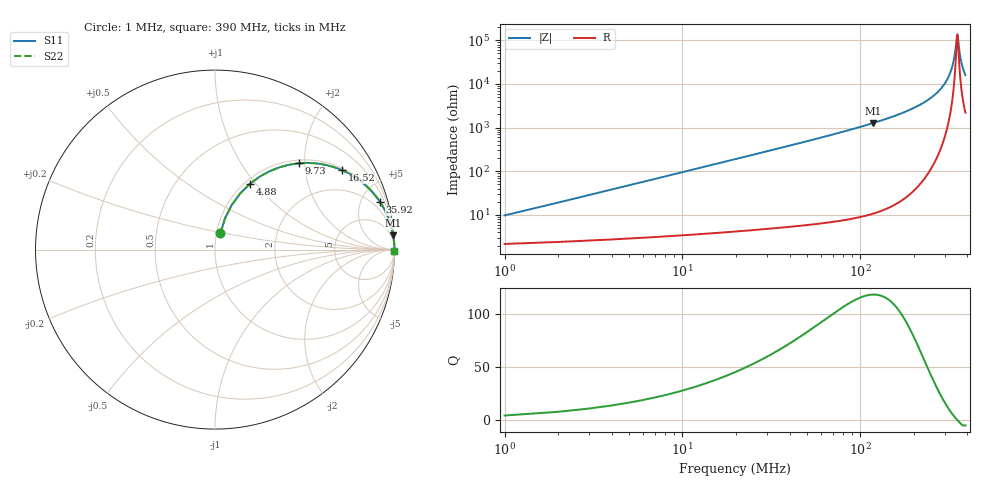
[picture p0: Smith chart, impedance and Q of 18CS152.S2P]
! Coilcraft 1812CS-152 Chip Inductor
! 31 July 2002
# MHZ S MA R 50
!Freq  MagS11  AngS11  MagS21  AngS21  MagS12  AngS12  MagS22  AngS22
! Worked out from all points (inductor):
!   403 points, 1 MHz to 390 MHz, reference 50 ohm
!   read as one part in series: L = 1.52 uH near 2.94 MHz
!   highest Q = 119 at 117.4 MHz (marker M1), where L = 1.71 uH
!   self-resonance near 351.2 MHz
!   S11 on the Smith chart (normalised r, x): 1 MHz: 1.04, +0.19; 4.88 MHz: 1.06, +0.93; 9.73 MHz: 1.07, +1.86; 16.52 MHz: 1.08, +3.16; 35.92 MHz: 1.10, +6.93; 390 MHz: open
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1  0.09545 71.8  0.9745 -5.3  0.9745 -5.3  0.09545 71.8
4.88  0.4135 62.1  0.8854 -24.4  0.8854 -24.4  0.4135 62.1
6.82  0.5348 55.0  0.8199 -32.3  0.8199 -32.3  0.5348 55.0
9.73  0.6692 45.9  0.7191 -42.0  0.7191 -42.0  0.6692 45.9
16.52  0.8359 31.9  0.5285 -56.7  0.5285 -56.7  0.8359 31.9
24.28  0.9126 23.1  0.3916 -65.9  0.3916 -65.9  0.9126 23.1
35.92  0.9571 16.0  0.276 -73.1  0.276 -73.1  0.9571 16.0
65.99  0.987 8.7  0.1511 -80.7  0.1511 -80.7  0.987 8.7
117.4  0.9962 4.5  0.07893 -85.0  0.07893 -85.0  0.9962 4.5
130.98  0.9971 3.9  0.06863 -85.6  0.06863 -85.6  0.9971 3.9
195.97  0.9989 2.1  0.03677 -87.2  0.03677 -87.2  0.9989 2.1
260.96  0.9993 1.0  0.01799 -87.4  0.01799 -87.4  0.9993 1.0
299.76  0.9994 0.5  0.009524 -85.9  0.009524 -85.9  0.9994 0.5
325.95  0.9993 0.3  0.004531 -81.4  0.004531 -81.4  0.9993 0.3
338.56  0.9993 0.1  0.002326 -72.5  0.002326 -72.5  0.9993 0.1
349.23  0.9993 0.0  0.0008175 -27.1  0.0008175 -27.1  0.9993 0.0
351.17  0.9993 0.0  0.0007352 -3.3  0.0007352 -3.3  0.9993 0.0
353.11  0.9993 -0.0  0.0007933 21.1  0.0007933 21.1  0.9993 -0.0
361.84  0.9992 -0.1  0.001901 66.0  0.001901 66.0  0.9992 -0.1
368.63  0.9992 -0.2  0.002954 74.3  0.002954 74.3  0.9992 -0.2
378.33  0.9992 -0.3  0.004471 79.1  0.004471 79.1  0.9992 -0.3
390  0.9991 -0.4  0.006269 81.7  0.006269 81.7  0.9991 -0.4
